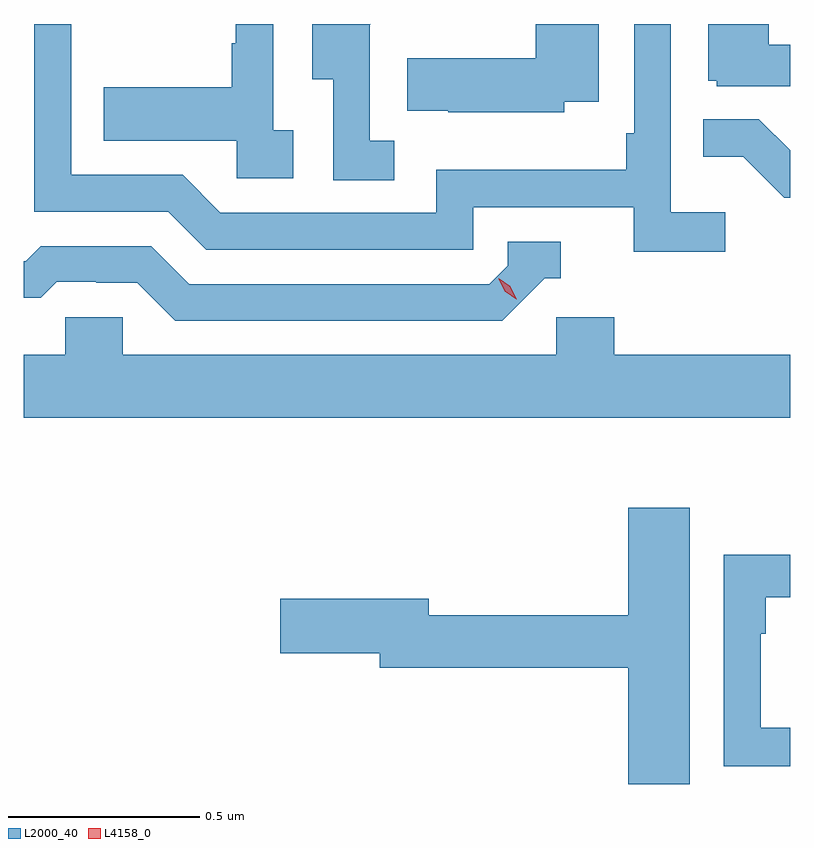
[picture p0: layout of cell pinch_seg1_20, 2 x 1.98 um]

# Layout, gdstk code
import gdstk
lib = gdstk.Library(unit=1e-6, precision=1e-09)
def P(c, l, *ps):  # polygons
    for p in ps: c.add(gdstk.Polygon(p, *l))
L2000_40 = (2000, 40)
L4158_0 = (4158, 0)

pinch_seg1_20 = lib.new_cell('pinch_seg1_20')
P(pinch_seg1_20, L2000_40, [(1117.546,573.58),(1117.404,573.58),(1117.404,574.072),(1117.308,574.072),(1117.308,573.787),(1117.288,573.787),(1117.288,573.691),(1116.792,573.691),(1116.792,573.579),(1116.228,573.579),(1116.129,573.678),(1115.838,573.678),(1115.838,574.072),(1115.742,574.072),(1115.742,573.582),(1116.092,573.582),(1116.191,573.483),(1116.888,573.483),(1116.888,573.594),(1117.307,573.594),(1117.307,573.478),(1117.546,573.478)],
  [(1116.682,573.767),(1116.618,573.767),(1116.618,574.071),(1116.62,574.071),(1116.62,574.072),(1116.467,574.072),(1116.467,573.928),(1116.522,573.928),(1116.522,573.664),(1116.682,573.664)],
  [(1117.715,574.018),(1117.66,574.018),(1117.66,574.072),(1117.502,574.072),(1117.502,573.924),(1117.524,573.924),(1117.524,573.909),(1117.715,573.909)],
  [(1117.125,573.869),(1117.216,573.869),(1117.216,574.072),(1117.051,574.072),(1117.051,573.982),(1116.715,573.982),(1116.715,573.845),(1116.823,573.845),(1116.823,573.842),(1117.125,573.842)],
  [(1116.418,573.794),(1116.366,573.794),(1116.366,574.072),(1116.268,574.072),(1116.268,574.022),(1116.258,574.022),(1116.258,573.907),(1115.923,573.907),(1115.923,573.767),(1116.27,573.767),(1116.27,573.669),(1116.418,573.669)],
  [(1117.715,573.742),(1117.633,573.824),(1117.489,573.824),(1117.489,573.725),(1117.593,573.725),(1117.7,573.618),(1117.715,573.618)],
  [(1117.074,573.408),(1117.117,573.408),(1117.117,573.504),(1116.978,573.504),(1116.978,573.441),(1116.93,573.393),(1116.147,573.393),(1116.048,573.492),(1115.759,573.492),(1115.72,573.453),(1115.715,573.453),(1115.715,573.357),(1115.759,573.357),(1115.801,573.399),(1115.904,573.399),(1115.904,573.396),(1116.011,573.396),(1116.11,573.297),(1116.963,573.297)],
  [(1117.715,573.208),(1117.256,573.208),(1117.256,573.306),(1117.104,573.306),(1117.104,573.208),(1115.973,573.208),(1115.973,573.306),(1115.823,573.306),(1115.823,573.208),(1115.715,573.208),(1115.715,573.044),(1117.715,573.044)],
  [(1117.453,572.809),(1117.292,572.809),(1117.292,572.528),(1116.772,572.528),(1116.772,572.571),(1116.384,572.571),(1116.384,572.429),(1116.644,572.429),(1116.644,572.392),(1117.292,572.392),(1117.292,572.088),(1117.453,572.088)],
  [(1117.715,572.235),(1117.638,572.235),(1117.638,572.48),(1117.652,572.48),(1117.652,572.576),(1117.715,572.576),(1117.715,572.686),(1117.542,572.686),(1117.542,572.134),(1117.715,572.134)])
P(pinch_seg1_20, L4158_0, [(1117,573.354),(1116.97,573.374),(1116.954,573.407),(1116.954,573.408),(1116.954,573.408),(1116.985,573.388),(1117.001,573.354),(1117.001,573.354)])

lib.write_gds('pinch_seg1_20.gds')
